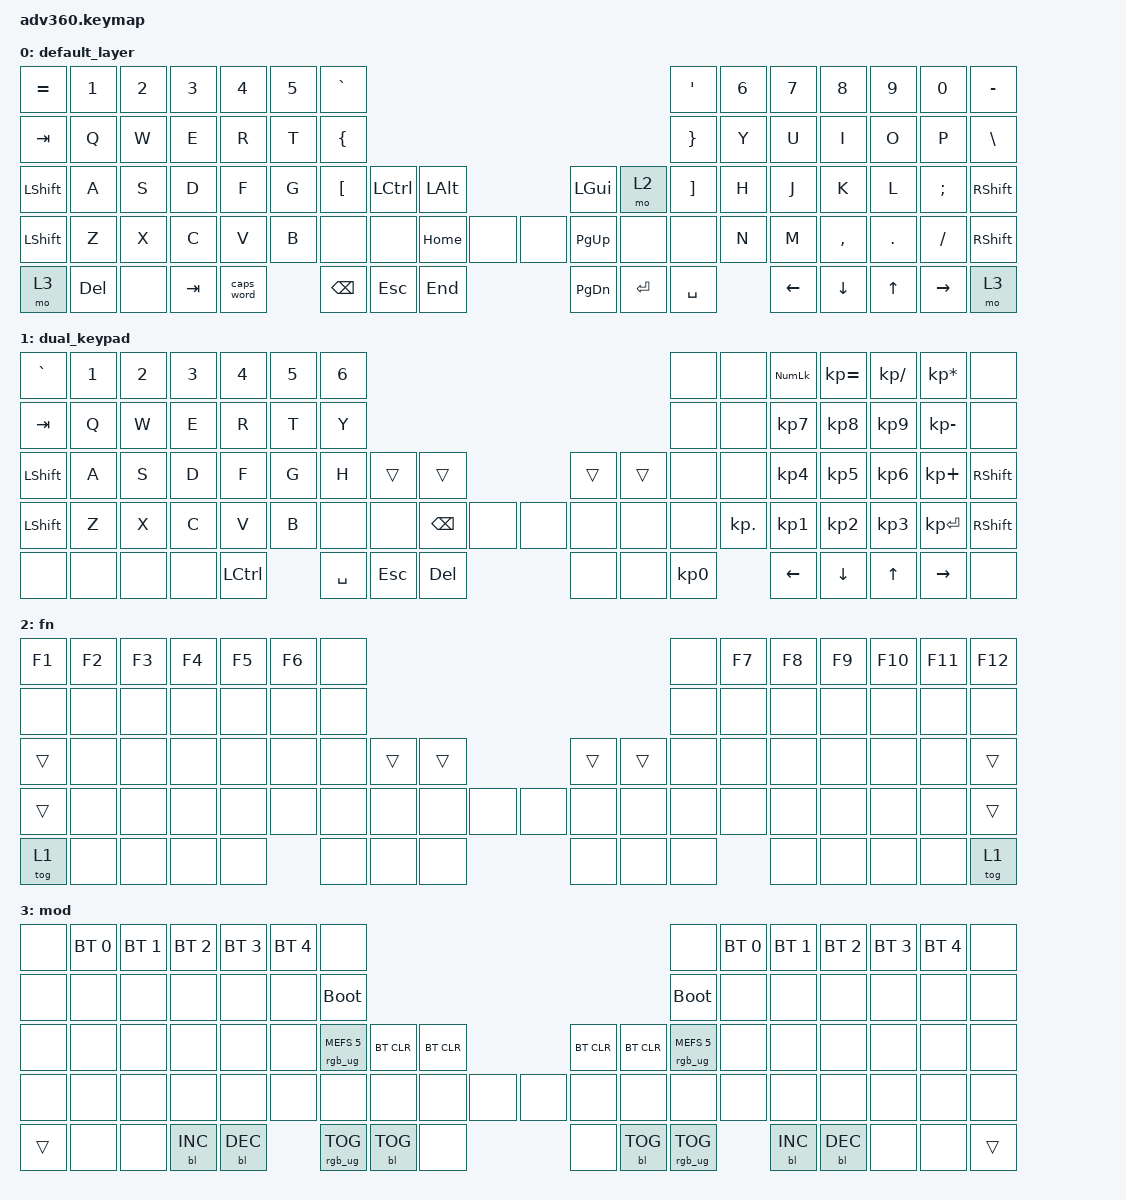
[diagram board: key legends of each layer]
#include <behaviors.dtsi>
#include <dt-bindings/zmk/keys.h>
#include <dt-bindings/zmk/bt.h>
#include <dt-bindings/zmk/rgb.h>
#include <dt-bindings/zmk/backlight.h>

&caps_word {
  continue-list = <BSPC DEL LSHFT RSHFT UNDER MINUS>;
};

&kscan0 {
  debounce-press-ms = <1>;
  debounce-release-ms = <5>;
};

/ {
  behaviors {
    #include "macros.dtsi"
  };

  keymap {
    compatible = "zmk,keymap";

    default_layer {
      bindings = <
        &kp EQUAL &kp N1    &kp N2    &kp N3    &kp N4    &kp N5    &kp GRAVE                                                                         &kp SQT   &kp N6    &kp N7    &kp N8    &kp N9    &kp N0    &kp MINUS
        &kp TAB   &kp Q     &kp W     &kp E     &kp R     &kp T     &kp LBRC                                                                          &kp RBRC  &kp Y     &kp U     &kp I     &kp O     &kp P     &kp BSLH
        &kp LSHFT &kp A     &kp S     &kp D     &kp F     &kp G     &kp LBKT            &kp LCTRL &kp LALT              &kp LGUI  &mo 2               &kp RBKT  &kp H     &kp J     &kp K     &kp L     &kp SEMI  &kp RSHFT
        &kp LSHFT &kp Z     &kp X     &kp C     &kp V     &kp B               &none     &none     &kp HOME  &none &none &kp PG_UP &none     &none               &kp N     &kp M     &kp COMMA &kp DOT   &kp FSLH  &kp RSHFT
        &mo 3     &kp DEL   &none     &kp TAB   &caps_word                    &kp BSPC  &kp ESC   &kp END               &kp PG_DN &kp ENTER &kp SPACE                     &kp LEFT  &kp DOWN  &kp UP    &kp RIGHT &mo 3
      >;
    };
    dual_keypad {
      bindings = <
        &kp GRAVE &kp N1    &kp N2    &kp N3    &kp N4    &kp N5    &kp N6                                                                            &none     &none      &kp KP_NUM &kp KP_EQUAL &kp KP_DIVIDE &kp KP_MULTIPLY &none
        &kp TAB   &kp Q     &kp W     &kp E     &kp R     &kp T     &kp Y                                                                             &none     &none      &kp KP_N7  &kp KP_N8    &kp KP_N9     &kp KP_MINUS    &none
        &kp LSHFT &kp A     &kp S     &kp D     &kp F     &kp G     &kp H               &trans    &trans                &trans    &trans              &none     &none      &kp KP_N4  &kp KP_N5    &kp KP_N6     &kp KP_PLUS     &kp RSHFT
        &kp LSHFT &kp Z     &kp X     &kp C     &kp V     &kp B               &none     &none     &kp BSPC  &none &none &none     &none     &none               &kp KP_DOT &kp KP_N1  &kp KP_N2    &kp KP_N3     &kp KP_ENTER    &kp RSHFT
        &none     &none     &none     &none     &kp LCTRL                     &kp SPACE &kp ESC   &kp DEL               &none     &none     &kp KP_N0                      &kp LEFT   &kp DOWN     &kp UP        &kp RIGHT       &none
      >;
    };
    fn {
      bindings = <
        &kp F1    &kp F2    &kp F3    &kp F4    &kp F5    &kp F6    &none                                                                             &none     &kp F7    &kp F8    &kp F9    &kp F10   &kp F11   &kp F12
        &none     &none     &none     &none     &none     &none     &none                                                                             &none     &none     &none     &none     &none     &none     &none
        &trans    &none     &none     &none     &none     &none     &none               &trans    &trans                &trans    &trans              &none     &none     &none     &none     &none     &none     &trans
        &trans    &none     &none     &none     &none     &none               &none     &none     &none     &none &none &none     &none     &none               &none     &none     &none     &none     &none     &trans
        &tog 1    &none     &none     &none     &none                         &none     &none     &none                 &none     &none     &none                         &none     &none     &none     &none     &tog 1
      >;
    };
    mod {
      bindings = <
        &none  &bt BT_SEL 0 &bt BT_SEL 1 &bt BT_SEL 2 &bt BT_SEL 3 &bt BT_SEL 4 &none                                                                                                          &none                  &bt BT_SEL 0 &bt BT_SEL 1 &bt BT_SEL 2 &bt BT_SEL 3 &bt BT_SEL 4 &none
        &none  &none        &none        &none        &none        &none        &bootloader                                                                                                    &bootloader            &none        &none        &none        &none        &none        &none
        &none  &none        &none        &none        &none        &none        &rgb_ug RGB_MEFS_CMD 5                 &bt BT_CLR &bt BT_CLR             &bt BT_CLR &bt BT_CLR                 &rgb_ug RGB_MEFS_CMD 5 &none        &none        &none        &none        &none        &none
        &none  &none        &none        &none        &none        &none                               &none           &none      &none      &none &none &none      &none      &none                                  &none        &none        &none        &none        &none        &none
        &trans &none        &none        &bl BL_INC   &bl BL_DEC                                       &rgb_ug RGB_TOG &bl BL_TOG &none                  &none      &bl BL_TOG &rgb_ug RGB_TOG                                     &bl BL_INC   &bl BL_DEC   &none        &none        &trans
      >;
    };
  };
};
